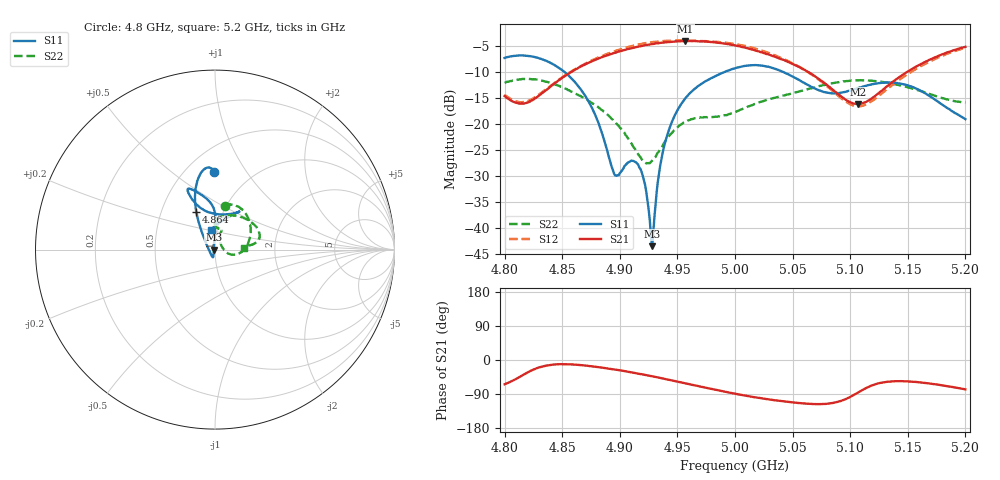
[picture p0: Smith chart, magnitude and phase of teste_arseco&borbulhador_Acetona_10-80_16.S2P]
! Network Analyzer HP8722D
! Hewlett-Packard
! Data name: Linha & Wilkinson
! Saver's name: Rodrigo Anjos
! Comments: Teste da utilização de aquisição
! continua pelo VNA HP8722D
! Time and date: 25/4/2025 15:24
!  Frequency  S11  S21  S12  S22
# HZ  S  MA R 50
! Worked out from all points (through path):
!   401 points, 4.8 GHz to 5.2 GHz, reference 50 ohm
!   highest |S21| = -3.97 dB at 4.957 GHz (marker M1); lowest = -16.1 dB at 5.107 GHz (marker M2)
!   lowest |S11| = -43.6 dB at 4.928 GHz (marker M3), VSWR 1.01, Z = 49.3 - j0.0117 ohm
!   |S11| at or under -10 dB: 4.852 GHz to 4.99 GHz (138.2 MHz wide, 2.81 % of centre); 5.042 GHz to end of sweep
!   |S22| runs from -27.6 to -11.3 dB; largest |S21 - S12| = 1.2
!   S11 on the Smith chart (normalised r, x): 4.8 GHz: 0.68, +0.72; 4.864 GHz: 0.75, +0.33; 5.2 GHz: 0.94, +0.21
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4.8e9  0.4344 90.7  0.1862 -64.0  0.1912 69.5  0.2496 77.5
4.82e9  0.4536 96.9  0.1614 -32.7  0.1667 98.1  0.2715 61.7
4.843e9  0.373 106.2  0.2454 -11.9  0.2485 118.7  0.2438 37.2
4.864e9  0.2325 116.5  0.3492 -12.8  0.3522 121.0  0.1903 12.1
4.867e9  0.2091 118.2  0.3634 -13.9  0.368 120.6  0.1827 8.8
4.88e9  0.1122 128.4  0.4227 -18.4  0.4324 118.2  0.1488 -5.2
4.896e9  0.03194 -167.6  0.4867 -25.3  0.5057 113.1  0.1047 -15.8
4.91e9  0.0444 -106.7  0.5385 -32.6  0.564 107.1  0.06519 -13.6
4.917e9  0.03801 -103.2  0.5619 -36.5  0.5885 103.5  0.04917 -1.1
4.922e9  0.02571 -106.9  0.5763 -39.4  0.6023 100.7  0.04276 16.2
4.928e9  0.006636 -179.0  0.5909 -42.9  0.617 97.1  0.04425 41.1
4.93e9  0.01248 120.4  0.5962 -44.3  0.6194 95.8  0.0471 47.9
4.934e9  0.03305 99.0  0.6044 -46.7  0.6273 93.2  0.05444 58.1
4.943e9  0.0903 90.6  0.619 -52.5  0.6365 87.5  0.07747 68.6
4.957e9  0.1778 89.3  0.6333 -61.5  0.6383 78.7  0.1057 70.9
5e9  0.3458 109.0  0.5742 -89.0  0.5915 50.8  0.1308 88.2
5.031e9  0.3517 115.0  0.4615 -104.8  0.4763 33.3  0.175 84.5
5.067e9  0.2273 105.1  0.3013 -116.0  0.2986 23.5  0.2222 57.2
5.107e9  0.2231 64.1  0.1562 -85.6  0.1477 57.5  0.264 24.3
5.134e9  0.2515 57.3  0.2402 -56.8  0.226 88.6  0.2484 12.4
5.168e9  0.1891 69.2  0.4132 -61.7  0.3962 85.2  0.1963 7.0
5.2e9  0.1116 100.3  0.5554 -77.5  0.5441 70.0  0.1613 3.8
